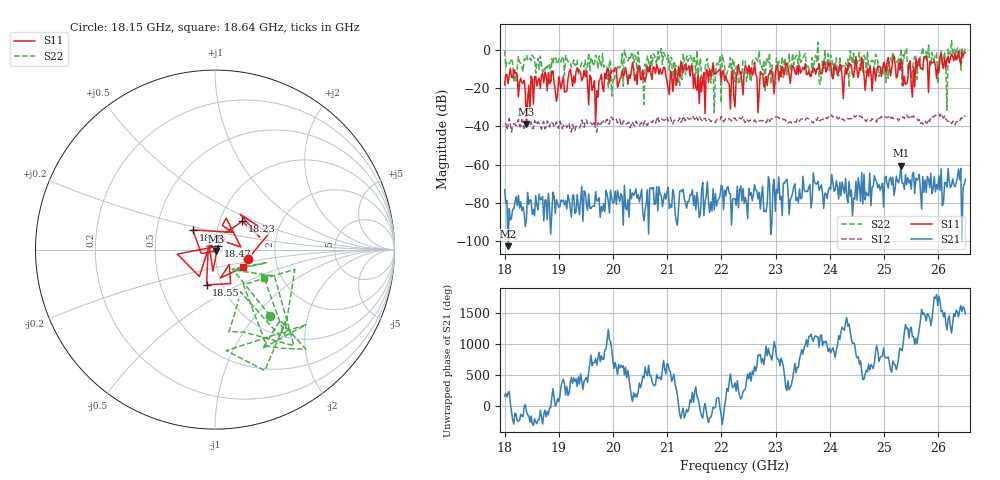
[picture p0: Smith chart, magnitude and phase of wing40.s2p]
!Keysight Technologies,N5242B,MY47200105,A.14.00.23
!Date: Friday, May 10, 2024 11:00:44
!Correction: S11(C  2-Port  )
!S21(C  2-Port  )
!S12(C  2-Port  )
!S22(C  2-Port  )
!S2P File: Measurement: :
# Hz S  RI  R 50
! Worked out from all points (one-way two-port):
!   401 points, 18 GHz to 26.5 GHz, reference 50 ohm
!   highest |S21| = -60.57 dB at 25.31 GHz (marker M1); lowest = -102.9 dB at 18.06 GHz (marker M2)
!   lowest |S11| = -38.9 dB at 18.4 GHz (marker M3), VSWR 1.02, Z = 50.8 - j0.842 ohm
!   |S11| at or under -10 dB: 18.11 GHz to 19.21 GHz (1.102 GHz wide, 5.91 % of centre); 19.35 GHz to 19.9 GHz (552.3 MHz wide, 2.81 % of centre); 22.62 GHz to 23.01 GHz (382.4 MHz wide, 1.68 % of centre) (the widest 3 of 64)
!   |S22| runs from -32.8 to 5.2 dB; largest |S21 - S12| = 0.021
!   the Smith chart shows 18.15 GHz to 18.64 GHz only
!   S11 on the Smith chart (normalised r, x): 18.15 GHz: 1.44, -0.15; 18.23 GHz: 1.28, +0.42; 18.36 GHz: 0.76, +0.17; 18.47 GHz: 1.03, +0.04; 18.55 GHz: 0.85, -0.35; 18.64 GHz: 1.34, -0.27
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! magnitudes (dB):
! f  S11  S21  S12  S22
! 18 GHz  -18.2  -73.1  -38.4  -0.1
! 18.06 GHz  -17.4  -102.9  -39.5  -6.8
! 18.15 GHz  -14.4  -83.4  -39.8  -6.4
! 18.23 GHz  -13.2  -81.6  -37.8  -8.8
! 18.36 GHz  -15.7  -85.7  -41.0  -4.5
! 18.4 GHz  -38.9  -88.4  -38.2  -2.7
! 18.47 GHz  -32.2  -78.5  -39.1  -4.3
! 18.55 GHz  -13.9  -87.0  -36.8  -4.3
! 18.64 GHz  -14.7  -75.5  -38.5  -10.1
! 19.42 GHz  -16.0  -71.4  -36.6  -6.4
! 19.68 GHz  -38.8  -74.1  -41.3  -2.5
! 20.02 GHz  -11.1  -79.7  -36.1  -16.5
! 20.25 GHz  -12.7  -83.9  -38.7  -4.3
! 20.55 GHz  -10.3  -85.7  -39.7  -13.8
! 20.85 GHz  -12.5  -71.7  -37.4  -4.7
! 21.23 GHz  -13.7  -74.1  -35.5  -18.4
! 21.4 GHz  -8.2  -79.4  -36.1  -4.5
! 22.25 GHz  -29.7  -77.9  -35.6  -16.4
! 23.67 GHz  -11.0  -78.3  -37.9  -3.8
! 25.1 GHz  -8.2  -67.8  -34.2  -5.7
! 25.31 GHz  -5.0  -60.6  -35.3  0.9
! 26.5 GHz  -1.1  -67.7  -35.0  0.8
